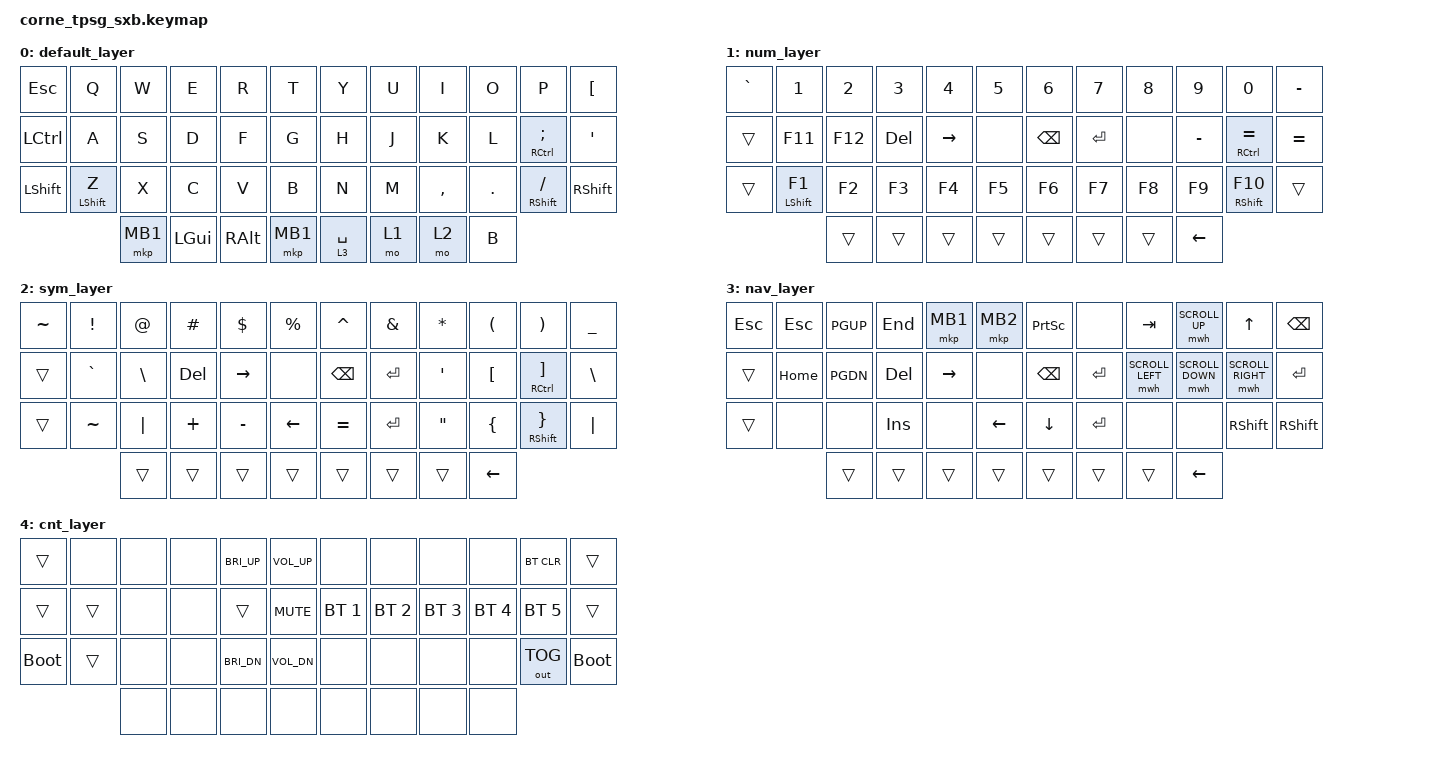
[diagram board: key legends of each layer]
/*
 * Copyright (c) 2024 The ZMK Contributors
 *
 * SPDX-License-Identifier: MIT
 */

#include <behaviors.dtsi>
#include <dt-bindings/zmk/keys.h>
#include <dt-bindings/zmk/bt.h>
#include <dt-bindings/zmk/mouse.h>
#include <dt-bindings/zmk/outputs.h>

&mwh {
	acceleration-exponent=<1>;
};

/ {
	behaviors {
		hm: balanced_homerow_mods {
			compatible = "zmk,behavior-hold-tap";
			label = "HOMEROW_MODS";
			#binding-cells = <2>;
			tapping-term-ms = <1000>;    // <---[[moderate duration]]
			//quick-tap-ms = <125>;
			flavor = "balanced";
			bindings = <&kp>, <&kp>;
		};
	};
	combos {
		compatible = "zmk,combos";
		combo_mb1 {
			timeout-ms = <100>;
			key-positions = <40 41>;
			bindings = <&mkp MB1>;
		};
	 	combo_mb2 {
	 		timeout-ms = <100>;
	 		key-positions = <   41 42>;
	 		bindings = <&mkp MB2>;
	 	};
	 	combo_l4 {
	 		timeout-ms = <100>;
	 		key-positions = <40    42>;
	 		bindings = <&mo 4>;
	 	};
	};
	keymap {
		compatible = "zmk,keymap";
		default_layer { /* Default */	/* 0 */
// -----------------------------------------------------------------------------
// |  ESC |  Q  |  W  |  E  |  R  |  T  ||  Y  |  U   |  I  |  O  |  P  |  [   |
// | CTRL |  A  |  S  |  D  |  F  |  G  ||  H  |  J   |  K  |  L  |  ;  |  '   |
// | SHFT |  Z  |  X  |  C  |  V  |  B  ||  N  |  M   |  ,  |  .  |  /  | SHFT |
//              |     | GUI | ALT | MB1 || SPC | LY1  | LY2 |  B  |
			bindings = <
	&kp ESC		&kp Q			&kp W		&kp E		&kp R	 	&kp T			&kp Y		&kp U		&kp I		&kp O		&kp P			&kp LBKT
	&kp LCTRL	&kp A			&kp S		&kp D		&kp F		&kp G			&kp H		&kp J		&kp K		&kp L		&hm RCTRL SEMI	&kp SQT
	&kp LSHFT	&hm LSHFT Z		&kp X		&kp C		&kp V		&kp B			&kp N		&kp M		&kp COMMA	&kp DOT		&hm RSHFT FSLH	&kp RSHFT
								&mkp MB1	&kp LGUI	&kp RALT	&mkp MB1		&lt 3 SPACE	&mo 1		&mo 2		&kp B
			>; 
		};
		num_layer { /* number */		/* L1 */
// ----------------------------------------------------------------------------
// |  `   |  1  |  2  |  3  |  4  |  5  ||  6  |  7  |  8  |  9  |  0  |  -   |
// | CTLR | F11 | F12 | DEL |RIGHT|     || BKSP| ENT |     |  -  |  =  |  =   |
// | SHFT |  F1 |  F2 |  F3 |  F4 |  F5 ||  F6 |  F7 |  F8 |  F9 | F10 | SHFT |
//              |     | GUI | ALT | MB1 || SPC | LY1 | LY3 | LEFT|
			bindings = <
	&kp GRAVE	&kp N1			&kp N2		&kp N3		&kp N4		&kp N5			&kp N6		&kp N7		&kp N8		&kp N9		&kp N0			&kp MINUS
	&trans		&kp F11			&kp F12		&kp DEL	    &kp RIGHT   &none 			&kp BSPC	&kp RET		&none		&kp MINUS	&hm RCTRL EQUAL	&kp EQUAL
	&trans		&hm LSHFT F1	&kp F2		&kp F3		&kp F4		&kp F5			&kp F6		&kp F7		&kp F8		&kp F9		&hm RSHFT F10	&trans
								&trans		&trans		&trans		&trans			&trans		&trans		&trans		&kp LEFT
			>;
	};
		sym_layer { /* Symbol */		/* L2 */
// ----------------------------------------------------------------------------
// |  ~   |  !  |  @  |  #  |  $  |  %  ||  ^  |  &  |  *  |  (  |  )  |  _   |
// | CTRL |  `  |  \  | DEL |RIGHT|     || BKSP| ENT |  '  |  [  |  ]  |  \   |
// | SHFT |  ~  | "|" |  +  |  -  | LEFT||  =  | ENT |  "  |  {  |  }  | "|"  |
//              |     | GUI | ALT | MB1 || SPC | LY1 | LY3 | LEFT|
			bindings = <
	&kp TILDE	&kp EXCL		&kp AT		&kp HASH	&kp DLLR	&kp PRCNT			&kp CARET	&kp AMPS	&kp STAR	&kp LPAR	&kp RPAR		&kp UNDER
	&trans		&kp GRAVE		&kp BSLH	&kp DEL		&kp RIGHT	&none				&kp BSPC	&kp RET		&kp SQT		&kp LBKT	&hm RCTRL RBKT	&kp BSLH
	&trans		&kp TILDE		&kp PIPE	&kp PLUS	&kp MINUS	&kp LEFT			&kp EQUAL	&kp RET		&kp DQT		&kp LBRC	&hm RSHFT RBRC	&kp PIPE
								&trans 		&trans		&trans		&trans				&trans		&trans		&trans		&kp LEFT
			>;
		};
		nav_layer { /* Navigation */	/* L3 */
// ----------------------------------------------------------------------------
// |  ESC | ESC | PGUP| END | MB1 | MB2 ||PSCRN|     | TAB | SCUP|  UP | BKSP |
// | CTRL | HOME| PGDN| DEL |RIGHT|     || BKSP| ENT | SCL | SCDN| SCR | ENT  |
// | SHFT |     |     | INS |     | LEFT|| DOWN| ENT |     |     | SHFT| SHFT |
//              |     | GUI | ALT | MB1 || SPC | LY1 | LY3 | LEFT|
			bindings = <
	&kp ESC		&kp ESC			&kp PGUP	&kp END		&mkp MB1	&mkp MB2			&kp PSCRN	&none		&kp TAB				&mwh SCROLL_UP		&kp UP				&kp BSPC
	&trans		&kp HOME		&kp PGDN	&kp DEL		&kp RIGHT	&none				&kp BSPC 	&kp RET		&mwh SCROLL_LEFT	&mwh SCROLL_DOWN	&mwh SCROLL_RIGHT	&kp RET	
	&trans		&none			&none		&kp INS		&none		&kp LEFT			&kp DOWN	&kp RET	 	&none				&none				&kp RSHFT			&kp RSHFT
								&trans		&trans		&trans		&trans				&trans		&trans		&trans				&kp LEFT
			>;
		};
		cnt_layer { /* Control */		/* L4 */
			bindings = <
	&trans		&none		&none		&none		&kp C_BRI_UP	&kp C_VOL_UP		&none			&none			&none			&none			&bt BT_CLR		&trans
	&trans		&trans		&none		&none		&trans			&kp C_MUTE			&bt BT_SEL 1	&bt BT_SEL 2	&bt BT_SEL 3	&bt BT_SEL 4	&bt BT_SEL 5	&trans	
	&bootloader	&trans		&none		&none		&kp C_BRI_DN	&kp C_VOL_DN		&none			&none			&none			&none			&out OUT_TOG	&bootloader
							&none		&none		&none			&none				&none			&none			&none			&none			
			>;
		};
	};
};

